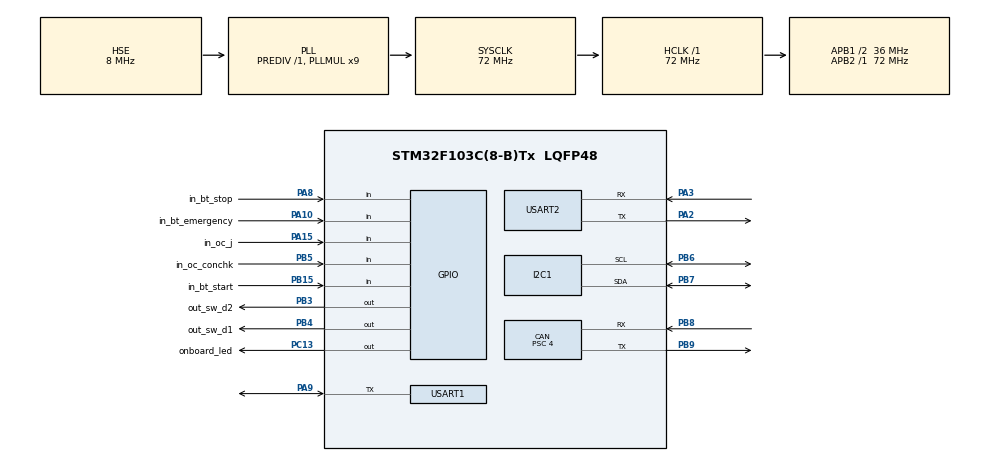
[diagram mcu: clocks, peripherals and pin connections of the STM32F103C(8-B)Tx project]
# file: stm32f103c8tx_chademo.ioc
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CAN.BS1=CAN_BS1_15TQ
CAN.BS2=CAN_BS2_2TQ
CAN.CalculateBaudRate=500000
CAN.CalculateTimeBit=2000
CAN.CalculateTimeQuantum=111.11111111111111
CAN.Mode=CAN_MODE_NORMAL
CAN.Prescaler=4
Mcu.Family=STM32F1
Mcu.Name=STM32F103C(8-B)Tx
Mcu.Package=LQFP48
NVIC.PriorityGroup=NVIC_PRIORITYGROUP_4
NVIC.USB_LP_CAN1_RX0_IRQn=true\:0\:0\:false\:false\:true\:true\:true\:true
PA10.GPIO_Label=in_bt_emergency
PA10.Signal=GPIO_Input
PA13.Mode=Serial_Wire
PA13.Signal=SYS_JTMS-SWDIO
PA14.Mode=Serial_Wire
PA14.Signal=SYS_JTCK-SWCLK
PA15.GPIO_Label=in_oc_j
PA15.Signal=GPIO_Input
PA2.Mode=Asynchronous
PA2.Signal=USART2_TX
PA3.Mode=Asynchronous
PA3.Signal=USART2_RX
PA8.GPIO_Label=in_bt_stop
PA8.Signal=GPIO_Input
PA9.Mode=Half_duplex(single_wire_mode)
PA9.Signal=USART1_TX
PB15.GPIO_Label=in_bt_start
PB15.Signal=GPIO_Input
PB3.GPIO_Label=out_sw_d2
PB3.Signal=GPIO_Output
PB4.GPIO_Label=out_sw_d1
PB4.Signal=GPIO_Output
PB5.GPIO_Label=in_oc_conchk
PB5.Signal=GPIO_Input
PB6.Mode=I2C
PB6.Signal=I2C1_SCL
PB7.Mode=I2C
PB7.Signal=I2C1_SDA
PB8.GPIO_PuPd=GPIO_NOPULL
PB8.Mode=CAN_Activate
PB8.Signal=CAN_RX
PB9.Mode=CAN_Activate
PB9.Signal=CAN_TX
PC13-TAMPER-RTC.GPIO_Label=onboard_led
PC13-TAMPER-RTC.Signal=GPIO_Output
PD0-OSC_IN.Mode=HSE-External-Oscillator
PD0-OSC_IN.Signal=RCC_OSC_IN
PD1-OSC_OUT.Mode=HSE-External-Oscillator
PD1-OSC_OUT.Signal=RCC_OSC_OUT
ProjectManager.HeapSize=0x200
ProjectManager.StackSize=0x400
ProjectManager.TargetToolchain=Makefile
RCC.AHBFreq_Value=72000000
RCC.APB1CLKDivider=RCC_HCLK_DIV2
RCC.APB1Freq_Value=36000000
RCC.APB1TimFreq_Value=72000000
RCC.APB2Freq_Value=72000000
RCC.APB2TimFreq_Value=72000000
RCC.HCLKFreq_Value=72000000
RCC.PLLMUL=RCC_PLL_MUL9
RCC.PLLSourceVirtual=RCC_PLLSOURCE_HSE
RCC.SYSCLKFreq_VALUE=72000000
RCC.SYSCLKSource=RCC_SYSCLKSOURCE_PLLCLK
RCC.USBFreq_Value=48000000
RCC.USBPrescaler=RCC_USBCLKSOURCE_PLL_DIV1_5
USART1.VirtualMode=VM_ASYNC
USART2.VirtualMode=VM_ASYNC
board=custom

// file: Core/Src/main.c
/* USER CODE BEGIN Header */
/**
  ******************************************************************************
  * @file           : main.c
  * @brief          : Main program body
  ******************************************************************************
  * @attention
  *
  * Copyright (c) 2025 STMicroelectronics.
  * All rights reserved.
  *
  * This software is licensed under terms that can be found in the LICENSE file
  * in the root directory of this software component.
  * If no LICENSE file comes with this software, it is provided AS-IS.
  *
  ******************************************************************************
  */
/* USER CODE END Header */
#include "main.h"

/* USER CODE BEGIN Includes */
#include <stdbool.h>
#include <stdio.h>

#include "SEGGER_RTT.h"
/* USER CODE END Includes */

CAN_HandleTypeDef hcan;

I2C_HandleTypeDef hi2c1;

UART_HandleTypeDef huart1;
UART_HandleTypeDef huart2;

void SystemClock_Config(void);
static void MX_GPIO_Init(void);
static void MX_USART1_UART_Init(void);
static void MX_USART2_UART_Init(void);
static void MX_I2C1_Init(void);
static void MX_CAN_Init(void);

/* USER CODE BEGIN 0 */
/*int _write(int file, char *ptr, int len) {
	for(int i = 0; i < len; i++) {
		ITM_SendChar(*ptr++);
	}

	return len;
}

int __io_putchar(int ch) {
    // Send the character to the ITM stimulus port 0
    ITM_SendChar(ch);
    return(ch);
}*/
bool onbled = false;
/* USER CODE END 0 */

int main(void)
{

  /* USER CODE BEGIN 1 */
  SEGGER_RTT_Init();
  /* USER CODE END 1 */

  /* MCU Configuration--------------------------------------------------------*/

  /* Reset of all peripherals, Initializes the Flash interface and the Systick. */
  HAL_Init();

  /* Configure the system clock */
  SystemClock_Config();

  /* Initialize all configured peripherals */
  MX_GPIO_Init();
  MX_USART1_UART_Init();
  MX_USART2_UART_Init();
  MX_I2C1_Init();
  MX_CAN_Init();
  /* USER CODE BEGIN 2 */
	if (HAL_CAN_Start(&hcan) != HAL_OK)
	  {
	      Error_Handler();
	  }
  /* USER CODE END 2 */

  /* Infinite loop */
  /* USER CODE BEGIN WHILE */
  while (1)
  {
	CAN_TxHeaderTypeDef TxHeader;
	uint8_t TxData[8] = {0xAA, 0xBB, 0xCC, 0xDD};
	uint32_t TxMailbox;

	TxHeader.StdId = 0x123;
	TxHeader.RTR = CAN_RTR_DATA;
	TxHeader.IDE = CAN_ID_STD;
	TxHeader.DLC = 4;
	TxHeader.TransmitGlobalTime = DISABLE;

	static uint16_t interval_1s = 0u;

	/*--- Time stuff begin ---*/
	static uint32_t prev_ms = 0u;
	uint32_t        cur_ms  = 0u;
	uint32_t        dt_ms   = 0u; /* Delta time */

	cur_ms = HAL_GetTick();
	dt_ms = cur_ms - prev_ms;
	prev_ms = cur_ms;
	/*--- Time stuff end ---*/

	/* --- exec with 1s interval begin --- */
	interval_1s += dt_ms;

	if (interval_1s >= 100u) {
		interval_1s -= 100u;

		if (HAL_CAN_AddTxMessage(&hcan, &TxHeader, TxData, &TxMailbox) == HAL_OK)
		{
		    // In Loopback, the message will immediately appear in FIFO0
		}

		for (char *p = "\nHello ITM\n"; *p; p++) {
			ITM_SendChar(*p);
		}

		SEGGER_RTT_printf(0, "Hello world! cur_ms: %lu, led: %s\n", cur_ms,
		       onbled ? "true" : "false");

		//GDB_PRINTF("%s\n", onbled ? "true" : "false");

		HAL_GPIO_WritePin(onboard_led_GPIO_Port, onboard_led_Pin,
				  onbled ? GPIO_PIN_SET : GPIO_PIN_RESET);

		onbled = !onbled;
	}
	/* --- exec with 1s interval end --- */

    /* USER CODE END WHILE */

  }
}

void SystemClock_Config(void)
{
  RCC_OscInitTypeDef RCC_OscInitStruct = {0};
  RCC_ClkInitTypeDef RCC_ClkInitStruct = {0};

  /** Initializes the RCC Oscillators according to the specified parameters
  * in the RCC_OscInitTypeDef structure.
  */
  RCC_OscInitStruct.OscillatorType = RCC_OSCILLATORTYPE_HSE;
  RCC_OscInitStruct.HSEState = RCC_HSE_ON;
  RCC_OscInitStruct.HSEPredivValue = RCC_HSE_PREDIV_DIV1;
  RCC_OscInitStruct.HSIState = RCC_HSI_ON;
  RCC_OscInitStruct.PLL.PLLState = RCC_PLL_ON;
  RCC_OscInitStruct.PLL.PLLSource = RCC_PLLSOURCE_HSE;
  RCC_OscInitStruct.PLL.PLLMUL = RCC_PLL_MUL9;
  if (HAL_RCC_OscConfig(&RCC_OscInitStruct) != HAL_OK)
  {
    Error_Handler();
  }

  /** Initializes the CPU, AHB and APB buses clocks
  */
  RCC_ClkInitStruct.ClockType = RCC_CLOCKTYPE_HCLK|RCC_CLOCKTYPE_SYSCLK
                              |RCC_CLOCKTYPE_PCLK1|RCC_CLOCKTYPE_PCLK2;
  RCC_ClkInitStruct.SYSCLKSource = RCC_SYSCLKSOURCE_PLLCLK;
  RCC_ClkInitStruct.AHBCLKDivider = RCC_SYSCLK_DIV1;
  RCC_ClkInitStruct.APB1CLKDivider = RCC_HCLK_DIV2;
  RCC_ClkInitStruct.APB2CLKDivider = RCC_HCLK_DIV1;

  if (HAL_RCC_ClockConfig(&RCC_ClkInitStruct, FLASH_LATENCY_2) != HAL_OK)
  {
    Error_Handler();
  }
}

static void MX_CAN_Init(void)
{

  hcan.Instance = CAN1;
  hcan.Init.Prescaler = 4;
  hcan.Init.Mode = CAN_MODE_NORMAL;
  hcan.Init.SyncJumpWidth = CAN_SJW_1TQ;
  hcan.Init.TimeSeg1 = CAN_BS1_15TQ;
  hcan.Init.TimeSeg2 = CAN_BS2_2TQ;
  hcan.Init.TimeTriggeredMode = DISABLE;
  hcan.Init.AutoBusOff = DISABLE;
  hcan.Init.AutoWakeUp = DISABLE;
  hcan.Init.AutoRetransmission = DISABLE;
  hcan.Init.ReceiveFifoLocked = DISABLE;
  hcan.Init.TransmitFifoPriority = DISABLE;
  if (HAL_CAN_Init(&hcan) != HAL_OK)
  {
    Error_Handler();
  }
  /* USER CODE BEGIN CAN_Init 2 */
  CAN_FilterTypeDef sFilterConfig;

  sFilterConfig.FilterBank = 0;
  sFilterConfig.FilterMode = CAN_FILTERMODE_IDMASK;
  sFilterConfig.FilterScale = CAN_FILTERSCALE_32BIT;
  sFilterConfig.FilterIdHigh = 0x0000;
  sFilterConfig.FilterIdLow = 0x0000;
  sFilterConfig.FilterMaskIdHigh = 0x0000; // 0 means "Don't care" (Accept all)
  sFilterConfig.FilterMaskIdLow = 0x0000;
  sFilterConfig.FilterFIFOAssignment = CAN_RX_FIFO0;
  sFilterConfig.FilterActivation = ENABLE;
  sFilterConfig.SlaveStartFilterBank = 14;

  if (HAL_CAN_ConfigFilter(&hcan, &sFilterConfig) != HAL_OK)
  {
    Error_Handler();
  }
  /* USER CODE END CAN_Init 2 */

}

static void MX_I2C1_Init(void)
{

  hi2c1.Instance = I2C1;
  hi2c1.Init.ClockSpeed = 100000;
  hi2c1.Init.DutyCycle = I2C_DUTYCYCLE_2;
  hi2c1.Init.OwnAddress1 = 0;
  hi2c1.Init.AddressingMode = I2C_ADDRESSINGMODE_7BIT;
  hi2c1.Init.DualAddressMode = I2C_DUALADDRESS_DISABLE;
  hi2c1.Init.OwnAddress2 = 0;
  hi2c1.Init.GeneralCallMode = I2C_GENERALCALL_DISABLE;
  hi2c1.Init.NoStretchMode = I2C_NOSTRETCH_DISABLE;
  if (HAL_I2C_Init(&hi2c1) != HAL_OK)
  {
    Error_Handler();
  }

}

static void MX_USART1_UART_Init(void)
{

  huart1.Instance = USART1;
  huart1.Init.BaudRate = 115200;
  huart1.Init.WordLength = UART_WORDLENGTH_8B;
  huart1.Init.StopBits = UART_STOPBITS_1;
  huart1.Init.Parity = UART_PARITY_NONE;
  huart1.Init.Mode = UART_MODE_TX_RX;
  huart1.Init.HwFlowCtl = UART_HWCONTROL_NONE;
  huart1.Init.OverSampling = UART_OVERSAMPLING_16;
  if (HAL_HalfDuplex_Init(&huart1) != HAL_OK)
  {
    Error_Handler();
  }

}

static void MX_USART2_UART_Init(void)
{

  huart2.Instance = USART2;
  huart2.Init.BaudRate = 115200;
  huart2.Init.WordLength = UART_WORDLENGTH_8B;
  huart2.Init.StopBits = UART_STOPBITS_1;
  huart2.Init.Parity = UART_PARITY_NONE;
  huart2.Init.Mode = UART_MODE_TX_RX;
  huart2.Init.HwFlowCtl = UART_HWCONTROL_NONE;
  huart2.Init.OverSampling = UART_OVERSAMPLING_16;
  if (HAL_UART_Init(&huart2) != HAL_OK)
  {
    Error_Handler();
  }

}

static void MX_GPIO_Init(void)
{
  GPIO_InitTypeDef GPIO_InitStruct = {0};

  /* GPIO Ports Clock Enable */
  __HAL_RCC_GPIOC_CLK_ENABLE();
  __HAL_RCC_GPIOD_CLK_ENABLE();
  __HAL_RCC_GPIOA_CLK_ENABLE();
  __HAL_RCC_GPIOB_CLK_ENABLE();

  /*Configure GPIO pin Output Level */
  HAL_GPIO_WritePin(onboard_led_GPIO_Port, onboard_led_Pin, GPIO_PIN_RESET);

  /*Configure GPIO pin Output Level */
  HAL_GPIO_WritePin(GPIOB, out_sw_d2_Pin|out_sw_d1_Pin, GPIO_PIN_RESET);

  /*Configure GPIO pin : onboard_led_Pin */
  GPIO_InitStruct.Pin = onboard_led_Pin;
  GPIO_InitStruct.Mode = GPIO_MODE_OUTPUT_PP;
  GPIO_InitStruct.Pull = GPIO_NOPULL;
  GPIO_InitStruct.Speed = GPIO_SPEED_FREQ_LOW;
  HAL_GPIO_Init(onboard_led_GPIO_Port, &GPIO_InitStruct);

  /*Configure GPIO pins : in_bt_start_Pin in_oc_conchk_Pin */
  GPIO_InitStruct.Pin = in_bt_start_Pin|in_oc_conchk_Pin;
  GPIO_InitStruct.Mode = GPIO_MODE_INPUT;
  GPIO_InitStruct.Pull = GPIO_NOPULL;
  HAL_GPIO_Init(GPIOB, &GPIO_InitStruct);

  /*Configure GPIO pins : in_bt_stop_Pin in_bt_emergency_Pin in_oc_j_Pin */
  GPIO_InitStruct.Pin = in_bt_stop_Pin|in_bt_emergency_Pin|in_oc_j_Pin;
  GPIO_InitStruct.Mode = GPIO_MODE_INPUT;
  GPIO_InitStruct.Pull = GPIO_NOPULL;
  HAL_GPIO_Init(GPIOA, &GPIO_InitStruct);

  /*Configure GPIO pins : out_sw_d2_Pin out_sw_d1_Pin */
  GPIO_InitStruct.Pin = out_sw_d2_Pin|out_sw_d1_Pin;
  GPIO_InitStruct.Mode = GPIO_MODE_OUTPUT_PP;
  GPIO_InitStruct.Pull = GPIO_NOPULL;
  GPIO_InitStruct.Speed = GPIO_SPEED_FREQ_LOW;
  HAL_GPIO_Init(GPIOB, &GPIO_InitStruct);

}

void Error_Handler(void)
{
  __disable_irq();
  while (1)
  {
  }
}
